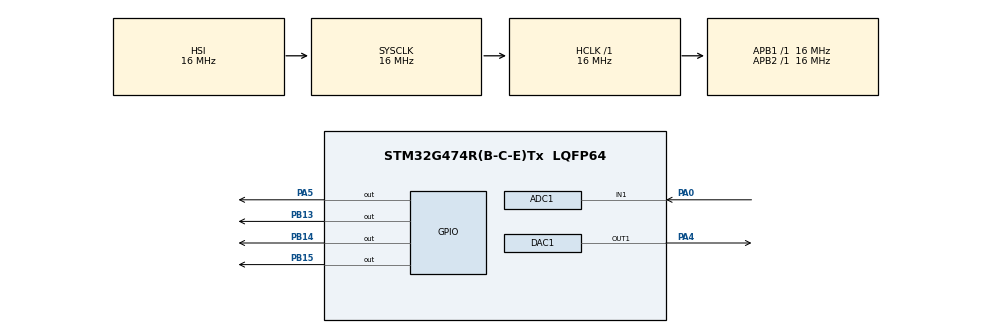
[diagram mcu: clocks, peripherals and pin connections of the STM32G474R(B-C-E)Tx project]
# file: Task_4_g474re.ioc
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ADC1.Channel-0\#ChannelRegularConversion=ADC_CHANNEL_1
ADC1.ContinuousConvMode=ENABLE
ADC1.NbrOfConversionFlag=1
ADC1.OffsetNumber-0\#ChannelRegularConversion=ADC_OFFSET_NONE
ADC1.Rank-0\#ChannelRegularConversion=1
ADC1.SamplingTime-0\#ChannelRegularConversion=ADC_SAMPLETIME_24CYCLES_5
ADC1.master=1
Mcu.Family=STM32G4
Mcu.Name=STM32G474R(B-C-E)Tx
Mcu.Package=LQFP64
NVIC.PriorityGroup=NVIC_PRIORITYGROUP_4
PA0.Mode=IN1-Single-Ended
PA0.Signal=ADC1_IN1
PA4.Signal=COMP_DAC11_group
PA5.Signal=GPIO_Output
PB13.Signal=GPIO_Output
PB14.Signal=GPIO_Output
PB15.Signal=GPIO_Output
ProjectManager.HeapSize=0x200
ProjectManager.StackSize=0x400
ProjectManager.TargetToolchain=STM32CubeIDE
RCC.AHBFreq_Value=16000000
RCC.APB1Freq_Value=16000000
RCC.APB1TimFreq_Value=16000000
RCC.APB2Freq_Value=16000000
RCC.APB2TimFreq_Value=16000000
RCC.CortexFreq_Value=16000000
RCC.EXTERNAL_CLOCK_VALUE=12288000
RCC.HCLKFreq_Value=16000000
RCC.HSE_VALUE=8000000
RCC.HSI48_VALUE=48000000
RCC.HSI_VALUE=16000000
RCC.LSE_VALUE=32768
RCC.SYSCLKFreq_VALUE=16000000
RCC.USBFreq_Value=64000000
RCC.VCOOutputFreq_Value=128000000
SH.COMP_DAC11_group.0=DAC1_OUT1,DAC_OUT1
VP_SYS_VS_DBSignals.Mode=DisableDeadBatterySignals
board=custom

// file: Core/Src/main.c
/* USER CODE BEGIN Header */
/**
  ******************************************************************************
  * @file           : main.c
  * @brief          : Main program body
  ******************************************************************************
  * @attention
  *
  * Copyright (c) 2025 STMicroelectronics.
  * All rights reserved.
  *
  * This software is licensed under terms that can be found in the LICENSE file
  * in the root directory of this software component.
  * If no LICENSE file comes with this software, it is provided AS-IS.
  *
  ******************************************************************************
  */
/* USER CODE END Header */
#include "main.h"

/* USER CODE BEGIN PD */
#define VREF        3.3f
#define ADC_RES     4095.0f
#define FC          10.0f       // cutoff freq for EMA
#define FS          1000.0f     // sampling freq (Hz)
/* USER CODE END PD */

ADC_HandleTypeDef hadc1;

DAC_HandleTypeDef hdac1;

void SystemClock_Config(void);
static void MX_GPIO_Init(void);
static void MX_ADC1_Init(void);
static void MX_DAC1_Init(void);

int main(void)
{

  /* USER CODE BEGIN 1 */
	 // float T = 1.0f / FS;
	//  float tau = 1.0f / (2.0f * M_PI * FC);
	//  float alpha = T / (T + tau);
  /* USER CODE END 1 */

  /* MCU Configuration--------------------------------------------------------*/

  /* Reset of all peripherals, Initializes the Flash interface and the Systick. */
  HAL_Init();

  /* Configure the system clock */
  SystemClock_Config();

  /* Initialize all configured peripherals */
  MX_GPIO_Init();
  MX_ADC1_Init();
  MX_DAC1_Init();
  /* USER CODE BEGIN 2 */
  HAL_ADC_Start(&hadc1);
  HAL_DAC_Start(&hdac1, DAC_CHANNEL_1);
  HAL_GPIO_WritePin(GPIOA, GPIO_PIN_5, GPIO_PIN_RESET);
  HAL_GPIO_WritePin(GPIOB, GPIO_PIN_13, GPIO_PIN_RESET);
  HAL_GPIO_WritePin(GPIOB, GPIO_PIN_14, GPIO_PIN_RESET);
  HAL_GPIO_WritePin(GPIOB, GPIO_PIN_15, GPIO_PIN_RESET);

  /* USER CODE END 2 */

  /* Infinite loop */
  /* USER CODE BEGIN WHILE */
  while (1)
  {
/*	HAL_GPIO_WritePin(GPIOA, GPIO_PIN_5, GPIO_PIN_SET);
	  HAL_Delay(500);
	  HAL_GPIO_WritePin(GPIOA, GPIO_PIN_5, GPIO_PIN_RESET);
	  HAL_Delay(500);

	    HAL_GPIO_WritePin(GPIOB, GPIO_PIN_13, GPIO_PIN_SET);
	    HAL_Delay(500);
	    HAL_GPIO_WritePin(GPIOB, GPIO_PIN_13, GPIO_PIN_RESET);
	    HAL_Delay(500);

	    HAL_GPIO_WritePin(GPIOB, GPIO_PIN_14, GPIO_PIN_SET);
	    HAL_Delay(500);
	    HAL_GPIO_WritePin(GPIOB, GPIO_PIN_14, GPIO_PIN_RESET);
	    HAL_Delay(500);

	    HAL_GPIO_WritePin(GPIOB, GPIO_PIN_15, GPIO_PIN_SET);
	    HAL_Delay(500);
	    HAL_GPIO_WritePin(GPIOB, GPIO_PIN_15, GPIO_PIN_RESET);
	    HAL_Delay(500); */

  if (HAL_ADC_PollForConversion(&hadc1, 10) == HAL_OK)
   {
          uint32_t adc_raw = HAL_ADC_GetValue(&hadc1);

          /* Choose your filter here */
        //  uint16_t filtered = SMA_Filter(adc_raw);
          // uint16_t filtered = EMA_Forward(adc_raw, alpha);
          // uint16_t filtered = EMA_Backward(adc_raw, alpha);
          //uint16_t filtered = EMA_Trapezoidal(adc_raw, tau, T);

          uint16_t filtered = adc_raw;

          /* Send filtered signal to DAC */
         HAL_DAC_SetValue(&hdac1, DAC_CHANNEL_1, DAC_ALIGN_12B_R, filtered);
   }

     HAL_Delay(1);  // ~1kHz sampling rate

    }

    /* USER CODE END WHILE */

  }

void SystemClock_Config(void)
{
  RCC_OscInitTypeDef RCC_OscInitStruct = {0};
  RCC_ClkInitTypeDef RCC_ClkInitStruct = {0};

  /** Configure the main internal regulator output voltage
  */
  HAL_PWREx_ControlVoltageScaling(PWR_REGULATOR_VOLTAGE_SCALE1);

  /** Initializes the RCC Oscillators according to the specified parameters
  * in the RCC_OscInitTypeDef structure.
  */
  RCC_OscInitStruct.OscillatorType = RCC_OSCILLATORTYPE_HSI;
  RCC_OscInitStruct.HSIState = RCC_HSI_ON;
  RCC_OscInitStruct.HSICalibrationValue = RCC_HSICALIBRATION_DEFAULT;
  RCC_OscInitStruct.PLL.PLLState = RCC_PLL_NONE;
  if (HAL_RCC_OscConfig(&RCC_OscInitStruct) != HAL_OK)
  {
    Error_Handler();
  }

  /** Initializes the CPU, AHB and APB buses clocks
  */
  RCC_ClkInitStruct.ClockType = RCC_CLOCKTYPE_HCLK|RCC_CLOCKTYPE_SYSCLK
                              |RCC_CLOCKTYPE_PCLK1|RCC_CLOCKTYPE_PCLK2;
  RCC_ClkInitStruct.SYSCLKSource = RCC_SYSCLKSOURCE_HSI;
  RCC_ClkInitStruct.AHBCLKDivider = RCC_SYSCLK_DIV1;
  RCC_ClkInitStruct.APB1CLKDivider = RCC_HCLK_DIV1;
  RCC_ClkInitStruct.APB2CLKDivider = RCC_HCLK_DIV1;

  if (HAL_RCC_ClockConfig(&RCC_ClkInitStruct, FLASH_LATENCY_0) != HAL_OK)
  {
    Error_Handler();
  }
}

static void MX_ADC1_Init(void)
{

  ADC_MultiModeTypeDef multimode = {0};
  ADC_ChannelConfTypeDef sConfig = {0};

  /** Common config
  */
  hadc1.Instance = ADC1;
  hadc1.Init.ClockPrescaler = ADC_CLOCK_SYNC_PCLK_DIV2;
  hadc1.Init.Resolution = ADC_RESOLUTION_12B;
  hadc1.Init.DataAlign = ADC_DATAALIGN_RIGHT;
  hadc1.Init.GainCompensation = 0;
  hadc1.Init.ScanConvMode = ADC_SCAN_DISABLE;
  hadc1.Init.EOCSelection = ADC_EOC_SINGLE_CONV;
  hadc1.Init.LowPowerAutoWait = DISABLE;
  hadc1.Init.ContinuousConvMode = ENABLE;
  hadc1.Init.NbrOfConversion = 1;
  hadc1.Init.DiscontinuousConvMode = DISABLE;
  hadc1.Init.ExternalTrigConv = ADC_SOFTWARE_START;
  hadc1.Init.ExternalTrigConvEdge = ADC_EXTERNALTRIGCONVEDGE_NONE;
  hadc1.Init.DMAContinuousRequests = DISABLE;
  hadc1.Init.Overrun = ADC_OVR_DATA_PRESERVED;
  hadc1.Init.OversamplingMode = DISABLE;
  if (HAL_ADC_Init(&hadc1) != HAL_OK)
  {
    Error_Handler();
  }

  /** Configure the ADC multi-mode
  */
  multimode.Mode = ADC_MODE_INDEPENDENT;
  if (HAL_ADCEx_MultiModeConfigChannel(&hadc1, &multimode) != HAL_OK)
  {
    Error_Handler();
  }

  /** Configure Regular Channel
  */
  sConfig.Channel = ADC_CHANNEL_1;
  sConfig.Rank = ADC_REGULAR_RANK_1;
  sConfig.SamplingTime = ADC_SAMPLETIME_24CYCLES_5;
  sConfig.SingleDiff = ADC_SINGLE_ENDED;
  sConfig.OffsetNumber = ADC_OFFSET_NONE;
  sConfig.Offset = 0;
  if (HAL_ADC_ConfigChannel(&hadc1, &sConfig) != HAL_OK)
  {
    Error_Handler();
  }

}

static void MX_DAC1_Init(void)
{

  DAC_ChannelConfTypeDef sConfig = {0};

  /** DAC Initialization
  */
  hdac1.Instance = DAC1;
  if (HAL_DAC_Init(&hdac1) != HAL_OK)
  {
    Error_Handler();
  }

  /** DAC channel OUT1 config
  */
  sConfig.DAC_HighFrequency = DAC_HIGH_FREQUENCY_INTERFACE_MODE_AUTOMATIC;
  sConfig.DAC_DMADoubleDataMode = DISABLE;
  sConfig.DAC_SignedFormat = DISABLE;
  sConfig.DAC_SampleAndHold = DAC_SAMPLEANDHOLD_DISABLE;
  sConfig.DAC_Trigger = DAC_TRIGGER_NONE;
  sConfig.DAC_Trigger2 = DAC_TRIGGER_NONE;
  sConfig.DAC_OutputBuffer = DAC_OUTPUTBUFFER_ENABLE;
  sConfig.DAC_ConnectOnChipPeripheral = DAC_CHIPCONNECT_EXTERNAL;
  sConfig.DAC_UserTrimming = DAC_TRIMMING_FACTORY;
  if (HAL_DAC_ConfigChannel(&hdac1, &sConfig, DAC_CHANNEL_1) != HAL_OK)
  {
    Error_Handler();
  }

}

static void MX_GPIO_Init(void)
{
  GPIO_InitTypeDef GPIO_InitStruct = {0};

  /* GPIO Ports Clock Enable */
  __HAL_RCC_GPIOA_CLK_ENABLE();
  __HAL_RCC_GPIOB_CLK_ENABLE();

  /*Configure GPIO pin Output Level */
  HAL_GPIO_WritePin(GPIOA, GPIO_PIN_5, GPIO_PIN_RESET);

  /*Configure GPIO pin Output Level */
  HAL_GPIO_WritePin(GPIOB, GPIO_PIN_13|GPIO_PIN_14|GPIO_PIN_15, GPIO_PIN_RESET);

  /*Configure GPIO pin : PA5 */
  GPIO_InitStruct.Pin = GPIO_PIN_5;
  GPIO_InitStruct.Mode = GPIO_MODE_OUTPUT_PP;
  GPIO_InitStruct.Pull = GPIO_NOPULL;
  GPIO_InitStruct.Speed = GPIO_SPEED_FREQ_LOW;
  HAL_GPIO_Init(GPIOA, &GPIO_InitStruct);

  /*Configure GPIO pins : PB13 PB14 PB15 */
  GPIO_InitStruct.Pin = GPIO_PIN_13|GPIO_PIN_14|GPIO_PIN_15;
  GPIO_InitStruct.Mode = GPIO_MODE_OUTPUT_PP;
  GPIO_InitStruct.Pull = GPIO_NOPULL;
  GPIO_InitStruct.Speed = GPIO_SPEED_FREQ_LOW;
  HAL_GPIO_Init(GPIOB, &GPIO_InitStruct);

}

void Error_Handler(void)
{
  __disable_irq();
  while (1)
  {
  }
}
